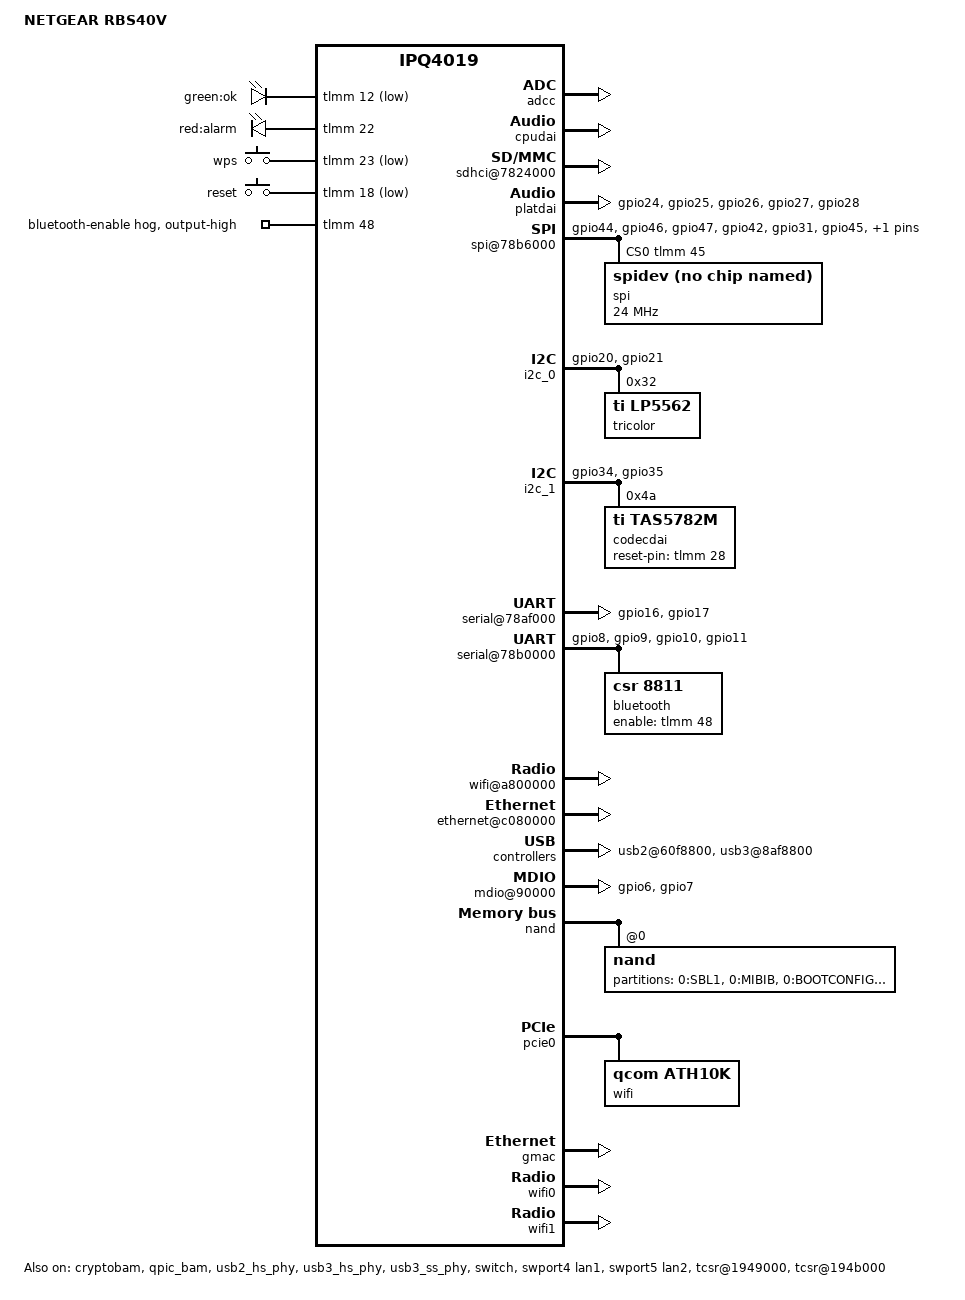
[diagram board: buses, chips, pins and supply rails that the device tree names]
// SPDX-License-Identifier: GPL-2.0-or-later OR MIT

#include "qcom-ipq4019.dtsi"
#include <dt-bindings/gpio/gpio.h>
#include <dt-bindings/input/input.h>
#include <dt-bindings/soc/qcom,tcsr.h>
#include <dt-bindings/sound/ipq40xx-audio.h>
#include <dt-bindings/clock/qca,adcc-ipq40xx.h>
#include <dt-bindings/reset/qcom,gcc-ipq40xx.h>
#include <dt-bindings/leds/common.h>
	//
	// OEM U-Boot provides
	// uboot_ver=V1.0.15 ubi.mtd=rootfs root=mtd:ubi_rootfs
	//                 rootfstype=squashfs rootwait
	//

/ {
	model = "NETGEAR RBS40V";
	compatible = "netgear,rbs40v";

	chosen {
		bootargs-append = " root=/dev/ubiblock0_1 rootfstype=squashfs ro";
	};

        aliases {
                spi0 = "/soc/spi@78b5000";
                spi1 = "/soc/spi@78b6000";
                i2c0 = "/soc/i2c@78b7000";
                i2c1 = "/soc/i2c@78b8000";
                led-boot = &led_status_white;
                led-failsafe = &led_status_red;
                led-running = &led_status_blue;
		led-upgrade = &led_status_green;
                serial0 = &blsp1_uart1;
                serial1 = &blsp1_uart2;
		ethernet1 = &swport4;
		ethernet2 = &swport5;
        };

	memory {
		device_type = "memory";
		reg = <0x0 0x0>;
	};

        leds {
                compatible = "gpio-leds";

                led_green: green {
                        label = "green:ok";
                        gpios = <&tlmm 12 GPIO_ACTIVE_LOW>;
                };

                led_red: red {
                        label = "red:alarm";
                        gpios = <&tlmm 22 GPIO_ACTIVE_HIGH>;
                        panic-indicator;
                };
	};

	soc {
                pinctrl@0x01000000 {
                        status = "okay";
                };

                adcc: clock-controller@7700038 {
			compatible = "qcom,adcc-ipq4019";
			reg = <0x7700038 0x1dc>;
			#clock-cells = <1>;
			#reset-cells = <1>;
			status = "okay";
                };

                cpudai: ipq40xx-pcm-i2s {
			#sound-dai-cells = <0>;
	                compatible = "qca,ipq40xx-cpu";

	                reg = <0x7700000 0x34>;
	                resets = <&gcc AUDIO_BLK_ARES>;
	                reset-names = "blk_rst";

			platforms = <I2S MBOX0_TX_ID STEREO0_ID MBOX3_RX_ID STEREO3_ID>;
			clocks = <&adcc 7>,
				<&adcc 5>,
				<&adcc 9>,
				<&adcc 3>;
			clock-names = "audio_tx_bclk",
				"audio_tx_mclk",
				"audio_rx_bclk",
				"audio_rx_mclk";
                        status = "okay";
                };

		sdhci@7824000 {
			status = "okay";
		};

                platdai: qca-pcm-i2s@7709000 {
			#sound-dai-cells = <0>;
                        interrupts = <GIC_SPI 156 IRQ_TYPE_LEVEL_HIGH>;
                        compatible = "qca,ipq40xx-pcm-i2s";
			reg = <0x7708000 0x1000>,
				<0x7709000 0x1000>;
			pinctrl-0 = <&audio_gpio_pins>;
			pinctrl-1 = <&audio_pins>;
			pinctrl-names = "default", "audio";
			stereo-index = <0x00>;
                        dma-index = <0x00>;
                        tx-channel = <0x00>;
                        rx-channel = <0x01>;
                };

		spi@78b5000 {
			pinctrl-0 = <&spi_0_pins>;
			pinctrl-names = "default";
		};

		spi@78b6000 {
			pinctrl-0 = <&spi_1_pins>;
			pinctrl-names = "default";
			cs-gpios = <&tlmm 45 GPIO_ACTIVE_HIGH>;

			spi@1 {
				compatible = "spidev";
				reg = <0x00>;
				spi-max-frequency = <0x16e3600>;
			};
		};

		sound {
			compatible = "simple-audio-card";
			simple-audio-card,name = "ipq4019-snd";
			simple-audio-card,format = "i2s";

			simple-audio-card,cpu {
				sound-dai = <&cpudai>;
			};
			simple-audio-card,codec {
				sound-dai = <&codecdai>;
			};
			simple-audio-card,plat {
				sound-dai = <&platdai>;
			};
		};


                i2c_0: i2c@78b7000 { /* BLSP1 QUP2 */
                        status = "okay";
			pinctrl-0 = <&i2c_0_pins>;
			pinctrl-names = "default";
/*
			touchboard: cypress-touchboard@8 {
				compatible = "";
				reg = <0x8>;
			}
*/
			tricolor: led-controller@32 {
				compatible = "ti,lp5562";
				reg = <0x32>;
				clock-mode = /bits/8 <2>;
				#address-cells = <1>;
				#size-cells = <0>;
                
				led_status_red: chan@0 {
					chan-name = "red:status";
					led-cur = /bits/ 8 <0x20>;
					max-cur = /bits/ 8 <0x60>;
					reg = <0>;
					color = <LED_COLOR_ID_RED>;
				};

				led_status_green: chan@1 {
					chan-name = "green:status";
					led-cur = /bits/ 8 <0x20>;
					max-cur = /bits/ 8 <0x60>;
					reg = <1>;
					color = <LED_COLOR_ID_GREEN>;
				};

				led_status_blue: chan@2 {
					chan-name = "blue:status";
					led-cur = /bits/ 8 <0x20>;
					max-cur = /bits/ 8 <0x60>;
					reg = <2>;
					color = <LED_COLOR_ID_BLUE>;
				};

				led_status_white: chan@3 {
					chan-name = "white:status";
					led-cur = /bits/ 8 <0x20>;
					max-cur = /bits/ 8 <0x60>;
					reg = <3>;
					color = <LED_COLOR_ID_WHITE>;
				};
			};
		};

		i2c_1: i2c@78b8000 {
			status = "okay";
			pinctrl-0 = <&i2c_1_pins>;
			pinctrl-names = "default";

			codecdai: tas5782m_codec@4a {
				#sound-dai-cells = <0>;
				compatible = "ti,tas5782m";
				work-mode = "i2s";
				reg = <0x4a>;
				status = "okay";
				reset-pin = <&tlmm 28 0>;
			};
		};

                serial@78af000 {
			status = "okay";
			pinctrl-0 = <&serial_0_pins>;
			pinctrl-names = "default";
                };

		serial@78b0000 {
                        status = "okay";
			pinctrl-0 = <&uart_1_pins>;
			pinctrl-1 = <&uart_1_pins>;
			pinctrl-names = "default";	
			bluetooth {
				compatible = "csr,8811";
				enable-gpios = <&tlmm 48 GPIO_ACTIVE_HIGH>;
			};
		};

		rng@22000 {
			status = "okay";
		};

		tcsr@1949000 {
			compatible = "qcom,tcsr";
			reg = <0x1949000 0x100>;
			qcom,wifi_glb_cfg = <TCSR_WIFI_GLB_CFG>;
			status = "okay";
		};

		tcsr@194b000 {
			compatible = "qcom,tcsr";
			reg = <0x194b000 0x100>;
			qcom,usb-hsphy-mode-select = <TCSR_USB_HSPHY_HOST_MODE>;
			status = "okay";
		};

		ess_tcsr@1953000 {
			compatible = "qcom,tcsr";
			reg = <0x1953000 0x1000>;
			qcom,ess-interface-select = <TCSR_ESS_PSGMII>;
		};

		tcsr@1957000 {
			compatible = "qcom,tcsr";
			reg = <0x1957000 0x100>;
			qcom,wifi_noc_memtype_m0_m2 = <TCSR_WIFI_NOC_MEMTYPE_M0_M2>;
		};

		wifi@a000000 {
			status = "okay";
			qcom,coexist-support = <1>;
			qcom,coexist-gpio-pin = <52>;
			pinctrl-0 = <&wifi1_pins>;
			pinctrl-names = "default";
		};

		wifi@a800000 {
			status = "okay";
		};

		switch@c000000 {
			status = "okay";
		};

		ethernet@c080000 {
			status = "okay";
		};

		ssphy@9a000 {
			status = "okay";
		};

		ssphy@a6000 {
			status = "okay";
		};

		usb2@60f8800 {
			status = "okay";
		};

		usb3@8af8800 {
			status = "okay";
		};

		crypto@8e3a000 {
			status = "okay";
		};

		watchdog@b017000 {
			status = "okay";
		};

                gpio_keys {
                        compatible = "gpio-keys";

                        button@1 {
                                label = "wps";
                                linux,code = <0x211>;
                                gpios = <&tlmm 23 0x01>;
                                linux,input-type = <0x01>;
                        };

                        button@2 {
                                label = "reset";
                                linux,code = <0x198>;
                                gpios = <&tlmm 18 0x01>;
                                linux,input-type = <0x01>;
                        };
                };

		mdio@90000 {
			status = "okay";
			pinctrl-0 = <&mdio_pins>;
			pinctrl-names = "default";
			phy-reset-gpio = <&tlmm 41 0x0>;
			bias-disable;
		};

		hsphy@a6000 {
			status = "okay";
		};
	};

	regulator@1948000 {
		status = "okay";
	};
};

&blsp_dma {
	status = "okay";
};

&cryptobam {
	status = "okay";
};

&nand {
	status = "okay";
	nand@0 {
		partitions {
			compatible = "fixed-partitions";
			#address-cells = <1>;
			#size-cells = <1>;

			partition@0 {
				label = "0:SBL1";
				reg = <0x0 0x100000>;
				read-only;
			};

			partition@100000 {
				label = "0:MIBIB";
				reg = <0x100000 0x100000>;
				read-only;
			};

			partition@200000 {
				label = "0:BOOTCONFIG";
				reg = <0x200000 0x100000>;
				read-only;
			};

			partition@300000 {
				label = "0:QSEE";
				reg = <0x300000 0x100000>;
				read-only;
			};

			partition@400000 {
				label = "0:QSEE_ALT";
				reg = <0x400000 0x100000>;
				read-only;
			};

			partition@500000 {
				label = "0:CDT";
				reg = <0x500000 0x80000>;
				read-only;
			};

			partition@580000 {
				label = "0:CDT_ALT";
				reg = <0x580000 0x80000>;
				read-only;
			};

			partition@600000 {
				label = "0:DDRPARAMS";
				reg = <0x600000 0x80000>;
				read-only;
			};

			partition@680000 {
				label = "0:APPSBLENV";
				reg = <0x680000 0x80000>;
				read-only;
			};

			partition@700000 {
				label = "0:APPSBL";
				reg = <0x700000 0x200000>;
				read-only;
			};

			partition@900000 {
				label = "0:APPSBL_ALT";
				reg = <0x900000 0x200000>;
				read-only;
			};

			partition@b00000 {
				label = "0:ART";
				reg = <0xb00000 0x80000>;
				read-only;
				compatible = "nvmem-cells";
				#address-cells = <1>;
				#size-cells = <1>;
				precal_art_1000: precal@1000 {
					reg = <0x1000 0x2f20>;
				};
				precal_art_5000: precal@5000 {
					reg = <0x5000 0x2f20>;
				};
				precal_art_9000: precal@9000 {
					reg = <0x9000 0x2f20>;
				};
			};

			partition@b80000 {
				label = "nvram";
				reg = <0xb80000 0x200000>;
			};

			partition@d80000 {
				label = "nvram2";
				reg = <0xd80000 0x200000>;
				compatible = "nvmem-cells";
			};

			partition@f80000 {
				label = "board_data";
				reg = <0xf80000 0x100000>;
				compatible = "nvmem-cells";
				#address-cells = <1>;
				#size-cells = <1>;
				read-only;
				macaddr_board_data_0: mac-address@40 {
					reg = <0x40 0x6>;
				};
				macaddr_board_data_1: mac-address@46 {
					reg = <0x46 0x6>;
				};
			};

			partition@1080000 {
				label = "POT1";
				reg = <0x1080000 0x100000>;
				read-only;
			};

			partition@1180000 {
				label = "POT2";
				reg = <0x1180000 0x100000>;
				read-only;
			};

			partition@1280000 {
				label = "ML1";
				reg = <0x1280000 0x100000>;
				read-only;
			};

			partition@1380000 {
				label = "DebugMsg";
				reg = <0x1380000 0x100000>;
				read-only;
			};

			partition@1480000 {
				label = "Reserved";
				reg = <0x1480000 0x1100000>;
				read-only;
			};

			partition@2580000 {
				label = "rootfs";
				reg = <0x2580000 0x6980000>;
			};

			partition@8f00000 {
				label = "rootfs_ALT";
				reg = <0x8f00000 0x6980000>;
			};
		};
	};
};

&pcie0 {
	status = "okay";

	perst-gpio = <&tlmm 38 GPIO_ACTIVE_LOW>;
	clkreq-gpio = <&tlmm 39 GPIO_ACTIVE_LOW>;
	wake-gpio = <&tlmm 40 GPIO_ACTIVE_LOW>;
        bridge@0,0 {
                reg = <0x00000000 0 0 0 0>;
                #address-cells = <3>;
                #size-cells = <2>;
                ranges;

                wifi@0,0 {
                        compatible = "qcom,ath10k";
                        status = "okay";
                        reg = <0x00010000 0 0 0 0>;
                        ieee80211-freq-limit = <5470000 5875000>;
                        qcom,ath10k-calibration-variant = "Netgear-Orbi-Pro-SRK60";
			nvmem-cells = <&precal_art_9000>, <&macaddr_board_data_1>;
			nvmem-cell-names = "pre-calibration", "mac-address";
		        mac-address-increment = <1>;
                };
        };
};

&qpic_bam {
	status = "okay";
};

&tlmm {
	serial_0_pins: serial0-pinmux {
		mux {
			pins = "gpio16", "gpio17";
			function = "blsp_uart0";
			bias-disable;
		};
	};

	audio_gpio_pins: audio_gpio_pinmux {
                mux_1 {
                        pins = "gpio24", "gpio25", "gpio26";
                        function = "gpio";
			output-high;
                };

                mux_2 {
                        pins = "gpio27";
                        function = "gpio";
			output-high;
                };

                mux_3 {
                        pins = "gpio28";
                        function = "gpio";
			output-low;
                };
        };

	serial_1_pins: serial_1_pinmux {
                mux {
			pins = "gpio8", "gpio9";
			function = "blsp_uart1";
			bias-disable;
		};
	};

	uart_1_pins: uart1_pinmux {
                mux {
			pins = "gpio8", "gpio9", "gpio10", "gpio11";
			function = "blsp_uart1";
			bias-disable;
		};
	};

        audio_pins: audio_pinmux {
                mux_1 {
                        pins = "gpio24", "gpio25", "gpio26";
                        function = "i2s_tx";
			output-high;
                };

                mux_2 {
                        pins = "gpio27";
                        function = "i2s_td";
			output-high;
                };

                mux_3 {
                        pins = "gpio28";
                        function = "gpio";
			output-low;
                };
        };

        i2c_0_pins: i2c_0_pinmux {
                mux {
                        pins = "gpio20", "gpio21";
                        function = "blsp_i2c0";
                        bias-disable;
                };
        };                        

        i2c_1_pins: i2c_1_pinmux {
                mux {
                        pins = "gpio34", "gpio35";
                        function = "blsp_i2c1";
                        bias-disable;
                };
        };

	spi_0_pins: spi_0_pinmux {
		mux {
			pins = "gpio13", "gpio14", "gpio15";
			drive-strength = <12>;
			function = "blsp_spi0";
			bias-disable;
		};
		mux-cs {
			pins = "gpio12";
			drive-strength = <2>;
			output-high;
			bias-disable;
		};
	};

	spi_1_pins: spi_1_pinmux {
		mux {
			pins = "gpio44", "gpio46", "gpio47";
			function = "blsp_spi1";
			bias-disable;
		};
		host-interrupt {
			pins = "gpio42";
			function = "gpio";
			input;
		};
		mux-2 {
			pins = "gpio31", "gpio45", "gpio49";
			function = "gpio";
			bias-pull-up;
			output-high;
		};
	};

	wifi1_pins: wifi1_pinmux {
		mux_1 {
			pins = "gpio37";
			output-high;
			function = "gpio";
			bias-pull-up;
			drive-strength = <0x06>;
		};
		mux_2 {
			pins = "gpio43";
			function = "gpio";
			bias-pull-up;
			drive-strength = <0x06>;
		};
		mux_3 {
			pins = "gpio52";
			output-high;
			function = "gpio";
			bias-pull-up;
			drive-strength = <0x06>;
		};
	};

	mdio_pins: mdio_pinmux {
		mux-1 {
			pins = "gpio6";
			function = "mdio";
			bias-pull-up;
		};

		mux-2 {
			pins = "gpio7";
			function = "mdc";
			bias-pull-up;
		};
	};

	bluetooth-enable {
		gpio-hog;
		gpios = <48 GPIO_ACTIVE_HIGH>;
		output-high;
	};

};

&usb2_hs_phy {
	status = "okay";
};

&usb3_hs_phy {
	status = "okay";
};

&usb3_ss_phy {
	status = "okay";
};

&gmac {
	status = "okay";
	nvmem-cells = <&macaddr_board_data_1>;
	nvmem-cells-names = "mac-address";
};

&switch {
	status = "okay";
};

&swport4 {
	status = "okay";
	label = "lan1";
//	nvmem-cells = <&macaddr_board_data_0>;
//	nvmem-cells-names = "mac-address";
};

&swport5 {
	status = "okay";
	label = "lan2";
};

&wifi0 {
        status = "okay";
	nvmem-cells = <&precal_art_1000>, <&macaddr_board_data_1>;
	nvmem-cell-names = "pre-calibration", "mac-address";
        mac-address-increment = <2>;
	qcom,ath10k-calibration-variant = "Netgear-Orbi-Pro-SRK60";
};

&wifi1 {
        status = "okay";
	nvmem-cells = <&precal_art_5000>, <&macaddr_board_data_1>;
	nvmem-cell-names = "pre-calibration", "mac-address";
        mac-address-increment = <3>;
	qcom,ath10k-calibration-variant = "Netgear-Orbi-Pro-SRK60";
};
